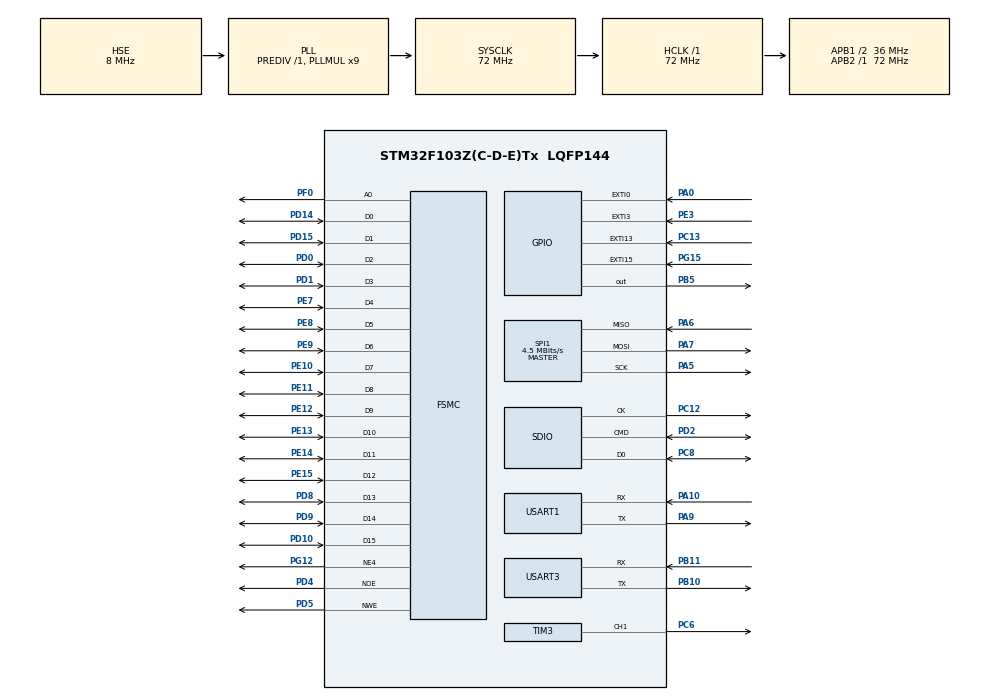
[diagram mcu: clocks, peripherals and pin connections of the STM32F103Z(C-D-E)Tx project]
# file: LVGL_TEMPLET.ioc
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Dma.Request0=USART3_RX
Dma.USART3_RX.0.Direction=DMA_PERIPH_TO_MEMORY
Dma.USART3_RX.0.Instance=DMA1_Channel3
Dma.USART3_RX.0.MemDataAlignment=DMA_MDATAALIGN_BYTE
Dma.USART3_RX.0.MemInc=DMA_MINC_ENABLE
Dma.USART3_RX.0.Mode=DMA_NORMAL
Dma.USART3_RX.0.PeriphDataAlignment=DMA_PDATAALIGN_BYTE
Dma.USART3_RX.0.PeriphInc=DMA_PINC_DISABLE
Dma.USART3_RX.0.Priority=DMA_PRIORITY_LOW
FATFS._CODE_PAGE=936
FATFS._FS_MINIMIZE=1
FATFS._FS_REENTRANT=0
FATFS._FS_TINY=0
FATFS._MAX_LFN=255
FATFS._USE_FASTSEEK=0
FATFS._USE_LFN=1
FATFS._USE_STRFUNC=0
FREERTOS.Tasks01=defaultTask,24,128,StartDefaultTask,Default,NULL,Dynamic,NULL,NULL
FREERTOS.configTOTAL_HEAP_SIZE=0x1000
FSMC.AddressSetupTime4=0
FSMC.BusTurnAroundDuration4=0
FSMC.DataSetupTime4=2
FSMC.ExtendedAddressSetupTime4=0
FSMC.ExtendedBusTurnAroundDuration4=0
FSMC.ExtendedDataSetupTime4=2
FSMC.ExtendedMode4=FSMC_EXTENDED_MODE_ENABLE
FSMC.WriteOperation4=FSMC_WRITE_OPERATION_ENABLE
Mcu.Family=STM32F1
Mcu.Name=STM32F103Z(C-D-E)Tx
Mcu.Package=LQFP144
NVIC.DMA1_Channel3_IRQn=true\:5\:0\:false\:false\:true\:true\:false\:true\:true
NVIC.EXTI0_IRQn=true\:5\:0\:false\:false\:true\:true\:true\:true\:true
NVIC.EXTI15_10_IRQn=true\:5\:0\:false\:false\:true\:true\:true\:true\:true
NVIC.EXTI3_IRQn=true\:5\:0\:false\:false\:true\:true\:true\:true\:true
NVIC.PriorityGroup=NVIC_PRIORITYGROUP_4
NVIC.TIM3_IRQn=true\:5\:0\:false\:false\:true\:true\:true\:true\:true
NVIC.TIM7_IRQn=true\:15\:0\:false\:false\:true\:false\:false\:true\:true
NVIC.TimeBase=TIM7_IRQn
NVIC.TimeBaseIP=TIM7
NVIC.USART3_IRQn=true\:5\:0\:false\:false\:true\:true\:true\:true\:true
OSC_IN.Mode=HSE-External-Oscillator
OSC_IN.Signal=RCC_OSC_IN
OSC_OUT.Mode=HSE-External-Oscillator
OSC_OUT.Signal=RCC_OSC_OUT
PA0-WKUP.Signal=GPXTI0
PA10.Mode=Asynchronous
PA10.Signal=USART1_RX
PA13.Mode=Serial_Wire
PA13.Signal=SYS_JTMS-SWDIO
PA14.Mode=Serial_Wire
PA14.Signal=SYS_JTCK-SWCLK
PA5.GPIO_Speed=GPIO_SPEED_FREQ_MEDIUM
PA5.Mode=Full_Duplex_Master
PA5.Signal=SPI1_SCK
PA6.Mode=Full_Duplex_Master
PA6.Signal=SPI1_MISO
PA7.GPIO_Speed=GPIO_SPEED_FREQ_MEDIUM
PA7.Mode=Full_Duplex_Master
PA7.Signal=SPI1_MOSI
PA9.Mode=Asynchronous
PA9.Signal=USART1_TX
PB10.Mode=Asynchronous
PB10.Signal=USART3_TX
PB11.Mode=Asynchronous
PB11.Signal=USART3_RX
PB5.Signal=GPIO_Output
PC12.Mode=SD_1_bit
PC12.Signal=SDIO_CK
PC13-TAMPER-RTC.Signal=GPXTI13
PC14-OSC32_IN.Mode=LSE-External-Oscillator
PC14-OSC32_IN.Signal=RCC_OSC32_IN
PC15-OSC32_OUT.Mode=LSE-External-Oscillator
PC15-OSC32_OUT.Signal=RCC_OSC32_OUT
PC6.Signal=S_TIM3_CH1
PC8.Mode=SD_1_bit
PC8.Signal=SDIO_D0
PD0.Signal=FSMC_D2_DA2
PD1.Signal=FSMC_D3_DA3
PD10.Signal=FSMC_D15_DA15
PD14.Signal=FSMC_D0_DA0
PD15.Signal=FSMC_D1_DA1
PD2.Mode=SD_1_bit
PD2.Signal=SDIO_CMD
PD4.Signal=FSMC_NOE
PD5.Signal=FSMC_NWE
PD8.Signal=FSMC_D13_DA13
PD9.Signal=FSMC_D14_DA14
PE10.Signal=FSMC_D7_DA7
PE11.Signal=FSMC_D8_DA8
PE12.Signal=FSMC_D9_DA9
PE13.Signal=FSMC_D10_DA10
PE14.Signal=FSMC_D11_DA11
PE15.Signal=FSMC_D12_DA12
PE2.Signal=FSMC_A23
PE3.Signal=GPXTI3
PE7.Signal=FSMC_D4_DA4
PE8.Signal=FSMC_D5_DA5
PE9.Signal=FSMC_D6_DA6
PF0.Signal=FSMC_A0
PG12.Mode=NorPsramChipSelect4_4
PG12.Signal=FSMC_NE4
PG15.Signal=GPXTI15
ProjectManager.HeapSize=0x200
ProjectManager.StackSize=0x400
ProjectManager.TargetToolchain=MDK-ARM V5.32
RCC.AHBFreq_Value=72000000
RCC.APB1CLKDivider=RCC_HCLK_DIV2
RCC.APB1Freq_Value=36000000
RCC.APB1TimFreq_Value=72000000
RCC.APB2Freq_Value=72000000
RCC.APB2TimFreq_Value=72000000
RCC.HCLKFreq_Value=72000000
RCC.PLLMUL=RCC_PLL_MUL9
RCC.PLLSourceVirtual=RCC_PLLSOURCE_HSE
RCC.SYSCLKFreq_VALUE=72000000
RCC.SYSCLKSource=RCC_SYSCLKSOURCE_PLLCLK
RCC.USBFreq_Value=72000000
SDIO.ClockDiv=9
SH.FSMC_A0.0=FSMC_A0,1b-a4
SH.FSMC_A23.0=FSMC_A23
SH.FSMC_D0_DA0.0=FSMC_D0,16b-d4
SH.FSMC_D10_DA10.0=FSMC_D10,16b-d4
SH.FSMC_D11_DA11.0=FSMC_D11,16b-d4
SH.FSMC_D12_DA12.0=FSMC_D12,16b-d4
SH.FSMC_D13_DA13.0=FSMC_D13,16b-d4
SH.FSMC_D14_DA14.0=FSMC_D14,16b-d4
SH.FSMC_D15_DA15.0=FSMC_D15,16b-d4
SH.FSMC_D1_DA1.0=FSMC_D1,16b-d4
SH.FSMC_D2_DA2.0=FSMC_D2,16b-d4
SH.FSMC_D3_DA3.0=FSMC_D3,16b-d4
SH.FSMC_D4_DA4.0=FSMC_D4,16b-d4
SH.FSMC_D5_DA5.0=FSMC_D5,16b-d4
SH.FSMC_D6_DA6.0=FSMC_D6,16b-d4
SH.FSMC_D7_DA7.0=FSMC_D7,16b-d4
SH.FSMC_D8_DA8.0=FSMC_D8,16b-d4
SH.FSMC_D9_DA9.0=FSMC_D9,16b-d4
SH.FSMC_NOE.0=FSMC_NOE,Sram4
SH.FSMC_NWE.0=FSMC_NWE,Sram4
SH.S_TIM3_CH1.0=TIM3_CH1,PWM Generation1 CH1
SPI1.BaudRatePrescaler=SPI_BAUDRATEPRESCALER_16
SPI1.CalculateBaudRate=4.5 MBits/s
SPI1.Direction=SPI_DIRECTION_2LINES
SPI1.Mode=SPI_MODE_MASTER
SPI1.VirtualType=VM_MASTER
TIM2.Period=0
TIM2.Prescaler=72-1
TIM3.Channel-PWM\ Generation1\ CH1=TIM_CHANNEL_1
TIM3.OCPolarity_1=TIM_OCPOLARITY_LOW
TIM3.Period=99
TIM3.Prescaler=71
TIM3.Pulse-PWM\ Generation1\ CH1=80
USART1.VirtualMode=VM_ASYNC
USART3.VirtualMode=VM_ASYNC
VP_FATFS_VS_SDIO.Mode=SDIO
VP_FREERTOS_VS_CMSIS_V2.Mode=CMSIS_V2
VP_SYS_VS_tim7.Mode=TIM7
VP_TIM2_VS_ClockSourceINT.Mode=Internal
VP_TIM3_VS_ClockSourceINT.Mode=Internal
board=custom

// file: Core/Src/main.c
/* USER CODE BEGIN Header */
/**
  ******************************************************************************
  * @file           : main.c
  * @brief          : Main program body
  ******************************************************************************
  * @attention
  *
  * Copyright (c) 2024 STMicroelectronics.
  * All rights reserved.
  *
  * This software is licensed under terms that can be found in the LICENSE file
  * in the root directory of this software component.
  * If no LICENSE file comes with this software, it is provided AS-IS.
  *
  ******************************************************************************
  */
/* USER CODE END Header */
#include "main.h"
#include "cmsis_os.h"
#include "dma.h"
#include "fatfs.h"
#include "sdio.h"
#include "spi.h"
#include "tim.h"
#include "usart.h"
#include "gpio.h"
#include "fsmc.h"

/* USER CODE BEGIN Includes */
#include <stdio.h>
#include "driver_fsmc_sram.h"
#include "./MALLOC/malloc.h"
/* USER CODE END Includes */

void SystemClock_Config(void);
void MX_FREERTOS_Init(void);
/* USER CODE BEGIN PFP */
#include <string.h>
/* USER CODE END PFP */

int main(void)
{

  /* MCU Configuration--------------------------------------------------------*/

  /* Reset of all peripherals, Initializes the Flash interface and the Systick. */
  HAL_Init();

  /* Configure the system clock */
  SystemClock_Config();

  /* Initialize all configured peripherals */
  MX_GPIO_Init();
  MX_DMA_Init();
  MX_FSMC_Init();
  MX_USART1_UART_Init();
  MX_USART3_UART_Init();
  MX_TIM3_Init();
  MX_TIM2_Init();
  MX_SPI1_Init();
  MX_SDIO_SD_Init();
  MX_FATFS_Init();
  /* USER CODE BEGIN 2 */
  my_mem_init(SRAMIN);                /* 初始化内部SRAM内存池 */
  FSMC_SRAM_Init();
  HAL_Delay(2000);

  /* USER CODE END 2 */

  /* Init scheduler */
  osKernelInitialize();

  /* Call init function for freertos objects (in freertos.c) */
  MX_FREERTOS_Init();

  /* Start scheduler */
  osKernelStart();

  /* We should never get here as control is now taken by the scheduler */
  /* Infinite loop */
  while (1)
  {

  }
}

void SystemClock_Config(void)
{
  RCC_OscInitTypeDef RCC_OscInitStruct = {0};
  RCC_ClkInitTypeDef RCC_ClkInitStruct = {0};

  /** Initializes the RCC Oscillators according to the specified parameters
  * in the RCC_OscInitTypeDef structure.
  */
  RCC_OscInitStruct.OscillatorType = RCC_OSCILLATORTYPE_HSE;
  RCC_OscInitStruct.HSEState = RCC_HSE_ON;
  RCC_OscInitStruct.HSEPredivValue = RCC_HSE_PREDIV_DIV1;
  RCC_OscInitStruct.HSIState = RCC_HSI_ON;
  RCC_OscInitStruct.PLL.PLLState = RCC_PLL_ON;
  RCC_OscInitStruct.PLL.PLLSource = RCC_PLLSOURCE_HSE;
  RCC_OscInitStruct.PLL.PLLMUL = RCC_PLL_MUL9;
  if (HAL_RCC_OscConfig(&RCC_OscInitStruct) != HAL_OK)
  {
    Error_Handler();
  }

  /** Initializes the CPU, AHB and APB buses clocks
  */
  RCC_ClkInitStruct.ClockType = RCC_CLOCKTYPE_HCLK|RCC_CLOCKTYPE_SYSCLK
                              |RCC_CLOCKTYPE_PCLK1|RCC_CLOCKTYPE_PCLK2;
  RCC_ClkInitStruct.SYSCLKSource = RCC_SYSCLKSOURCE_PLLCLK;
  RCC_ClkInitStruct.AHBCLKDivider = RCC_SYSCLK_DIV1;
  RCC_ClkInitStruct.APB1CLKDivider = RCC_HCLK_DIV2;
  RCC_ClkInitStruct.APB2CLKDivider = RCC_HCLK_DIV1;

  if (HAL_RCC_ClockConfig(&RCC_ClkInitStruct, FLASH_LATENCY_2) != HAL_OK)
  {
    Error_Handler();
  }
}

void HAL_TIM_PeriodElapsedCallback(TIM_HandleTypeDef *htim)
{
  if (htim->Instance == TIM7) {
    HAL_IncTick();
  }
}

void Error_Handler(void)
{
  /* USER CODE BEGIN Error_Handler_Debug */
  /* User can add his own implementation to report the HAL error return state */

  while (1)
  {
		printf("inError_Handler");
		HAL_Delay(1000);
  }
  /* USER CODE END Error_Handler_Debug */
}

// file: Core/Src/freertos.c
/* USER CODE BEGIN Header */
/**
  ******************************************************************************
  * File Name          : freertos.c
  * Description        : Code for freertos applications
  ******************************************************************************
  * @attention
  *
  * Copyright (c) 2024 STMicroelectronics.
  * All rights reserved.
  *
  * This software is licensed under terms that can be found in the LICENSE file
  * in the root directory of this software component.
  * If no LICENSE file comes with this software, it is provided AS-IS.
  *
  ******************************************************************************
  */
/* USER CODE END Header */

#include "FreeRTOS.h"
#include "task.h"
#include "main.h"
#include "cmsis_os.h"

/* USER CODE BEGIN Includes */
//#include "lcd_function.h"
//#include "XPT2046.h"
#include "LVGLTask.h"
#include <stdio.h>
/* USER CODE END Includes */

/* USER CODE BEGIN Variables */
//osThreadId_t TouchTaskTaskHandle;//���Դ�����������
osThreadId_t LVGLTaskHandle;
const osThreadAttr_t LVGLTask_attributes = {
  .name = "LVGLTask",
  .stack_size = (512 * 4) + 256,
  .priority = (osPriority_t) osPriorityNormal,
};

QueueHandle_t LED_Frequency;

/* USER CODE END Variables */
/* Definitions for defaultTask */
osThreadId_t defaultTaskHandle;
const osThreadAttr_t defaultTask_attributes = {
  .name = "defaultTask",
  .stack_size = 128,
  .priority = (osPriority_t) osPriorityNormal,
};

/* USER CODE BEGIN FunctionPrototypes */
//void TouchTask(void *argument);//���Դ�����������
/* USER CODE END FunctionPrototypes */

void StartDefaultTask(void *argument);

void MX_FREERTOS_Init(void); /* (MISRA C 2004 rule 8.1) */

void MX_FREERTOS_Init(void) {

  /* Create the thread(s) */
  /* creation of defaultTask */
  defaultTaskHandle = osThreadNew(StartDefaultTask, NULL, &defaultTask_attributes);

  /* USER CODE BEGIN RTOS_THREADS */
  /* add threads, ... */
//	TouchTaskTaskHandle = osThreadNew(TouchTask, NULL, &defaultTask_attributes);//���Դ�����������

	LVGLTaskHandle = osThreadNew(LVGLTask, NULL, &LVGLTask_attributes);
  /* USER CODE END RTOS_THREADS */

}

void StartDefaultTask(void *argument)
{
  /* USER CODE BEGIN StartDefaultTask */
	static uint8_t Frequency = 10 ;
	LED_Frequency = xQueueCreate( 40, 1 );
  /* Infinite loop */
  while(1)
  {
		if(!xQueueReceive(LED_Frequency, &Frequency, (110 - Frequency)*10))
		HAL_GPIO_TogglePin(GPIOB, GPIO_PIN_5);
  }
  /* USER CODE END StartDefaultTask */
}

/* USER CODE BEGIN Application */
//void TouchTask(void *argument)
//{
//	LCD_SetAllColor(WHITE,BLACK);
//	uint8_t line = 0;
//	uint16_t fontSize = 16;
//	lv_indev_data_t testData;
//	char showMsgBuff[50];
//	LCD_Clear(WHITE);
//	while(1)
//	{
//		xpt2046_read(&testData);
//		if(testData.state == LV_INDEV_STATE_PR)
//		{
//			sprintf(showMsgBuff,"Screen touch occurs! x = %d ; y = %d\r\n",testData.point.x,testData.point.y);
//			printf("%s",showMsgBuff);
//			LCD_ShowString_Line(line,fontSize,(uint8_t*)showMsgBuff);
//			line++;
//			if(line > (lcddev.ver_res/fontSize))
//			{
//				line = 0;
//			}
//		}
//	}
//}

/* USER CODE END Application */
